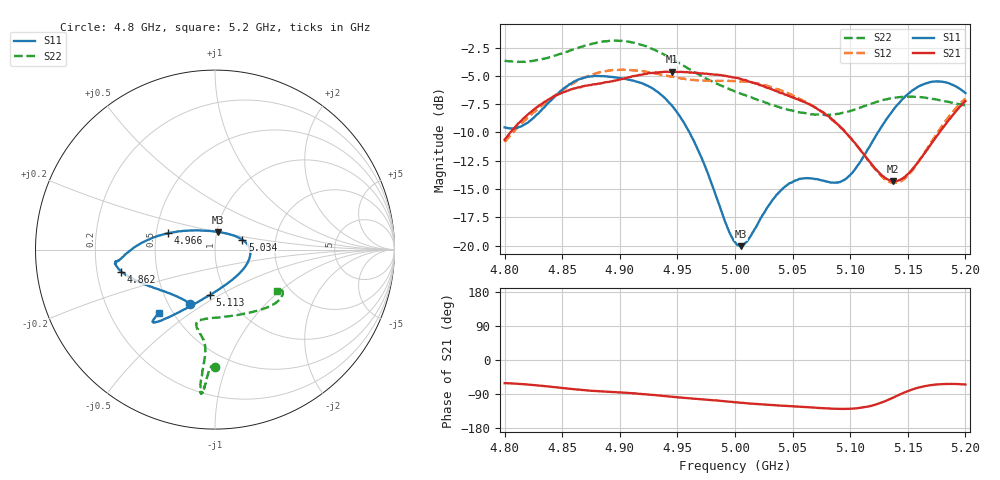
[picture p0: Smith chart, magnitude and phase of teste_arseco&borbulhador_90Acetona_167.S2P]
! Network Analyzer HP8722D
! Hewlett-Packard
! Data name: Linha & Wilkinson
! Saver's name: Rodrigo Anjos
! Comments: Teste da utilização de aquisição
! continua pelo VNA HP8722D
! Time and date: 17/4/2025 12:26
!  Frequency  S11  S21  S12  S22
# HZ  S  MA R 50
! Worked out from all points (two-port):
!   401 points, 4.8 GHz to 5.2 GHz, reference 50 ohm
!   highest |S21| = -4.63 dB at 4.945 GHz (marker M1); lowest = -14.3 dB at 5.137 GHz (marker M2)
!   |S21| within 3 dB of the highest: 4.83 GHz to 5.067 GHz (236.7 MHz wide, 4.78 % of centre); 5.196187 GHz to end of sweep
!   lowest |S11| = -20.0 dB at 5.005 GHz (marker M3), VSWR 1.22, Z = 50.6 + j10 ohm
!   |S11| at or under -10 dB: 4.961 GHz to 5.124 GHz (163.5 MHz wide, 3.24 % of centre)
!   |S22| runs from -8.5 to -1.9 dB; largest |S21 - S12| = 0.88
!   S11 on the Smith chart (normalised r, x): 4.8 GHz: 0.64, -0.44; 4.862 GHz: 0.31, -0.11; 4.966 GHz: 0.58, +0.11; 5.034 GHz: 1.35, +0.15; 5.113 GHz: 0.83, -0.45; 5.2 GHz: 0.42, -0.38
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4.8e9  0.3331 -114.2  0.2937 -61.2  0.2869 -175.3  0.6565 -90.0
4.819e9  0.3472 -134.3  0.3749 -64.5  0.3626 -174.2  0.6518 -91.7
4.862e9  0.5357 -166.8  0.4967 -77.6  0.5318 -177.3  0.7437 -94.0
4.867e9  0.5479 -168.7  0.5047 -79.0  0.5463 -178.4  0.757 -94.2
4.9e9  0.5508 -173.3  0.5415 -85.4  0.5977 175.1  0.8028 -95.6
4.934e9  0.4729 -179.4  0.5833 -93.8  0.5741 171.5  0.7163 -96.1
4.945e9  0.4172 175.4  0.5869 -97.1  0.5591 171.6  0.6685 -95.7
4.966e9  0.2779 161.0  0.5806 -102.3  0.5381 173.5  0.5796 -95.3
5e9  0.1037 98.2  0.5522 -111.5  0.5345 175.9  0.4795 -99.5
5.005e9  0.09946 80.9  0.5455 -112.9  0.5305 175.7  0.4689 -100.7
5.012e9  0.1073 58.9  0.5311 -114.7  0.5266 175.6  0.4554 -102.1
5.034e9  0.1623 19.9  0.4861 -119.5  0.4977 174.6  0.4157 -103.8
5.049e9  0.1896 4.5  0.4532 -122.0  0.4642 174.0  0.3958 -100.2
5.067e9  0.1979 -14.5  0.4149 -125.2  0.4173 173.4  0.3802 -90.7
5.093e9  0.193 -58.8  0.3289 -128.9  0.3285 173.9  0.3855 -70.6
5.113e9  0.2545 -96.3  0.2485 -124.3  0.2484 -179.7  0.4148 -55.0
5.134e9  0.3768 -117.5  0.1946 -103.8  0.191 -156.6  0.4462 -43.1
5.137e9  0.395 -119.3  0.1925 -99.7  0.1891 -151.8  0.4495 -41.8
5.15e9  0.4665 -125.2  0.2067 -82.2  0.2036 -131.9  0.4553 -36.9
5.17e9  0.5285 -129.8  0.2803 -66.3  0.2847 -112.5  0.4468 -32.2
5.184e9  0.5246 -131.1  0.351 -63.3  0.3614 -107.6  0.4328 -31.3
5.2e9  0.4721 -131.5  0.4353 -64.8  0.4469 -106.9  0.4167 -33.7
